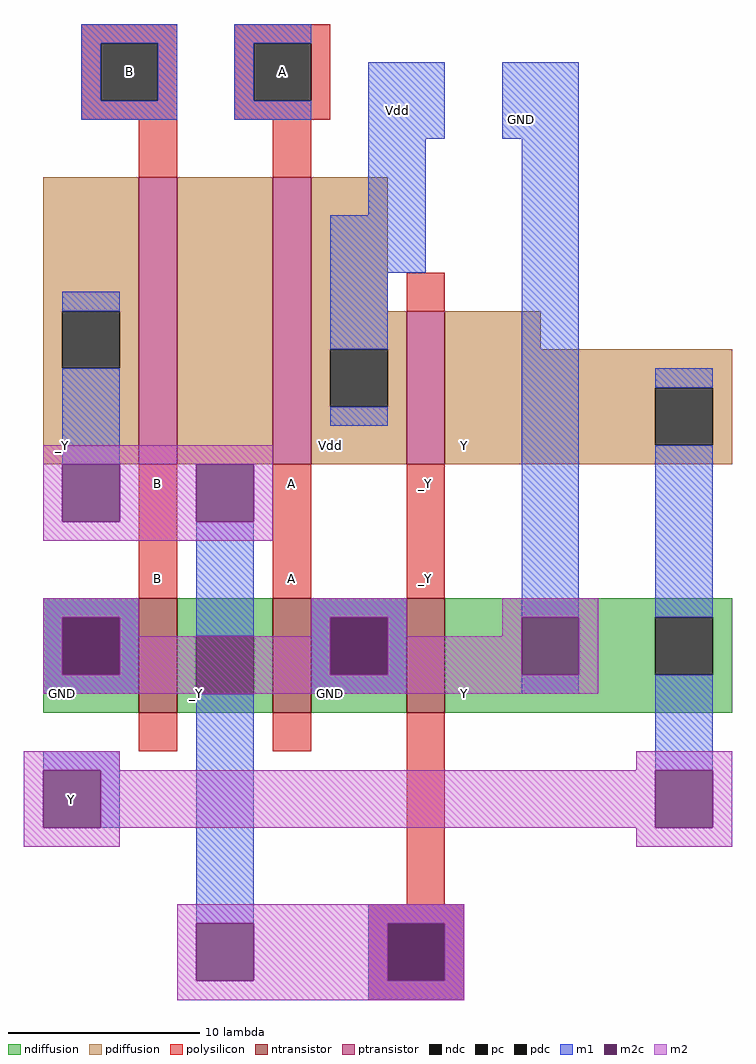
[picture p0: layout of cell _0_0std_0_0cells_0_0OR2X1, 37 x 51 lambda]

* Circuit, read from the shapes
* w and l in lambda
.subckt _0_0std_0_0cells_0_0OR2X1 GND
M1 _Y B GND VSUBS nfet w=6 l=2
M2 GND A _Y VSUBS nfet w=6 l=2
M3 Y _Y GND VSUBS nfet w=6 l=2
M4 n1 B _Y NWELL pfet w=15 l=2
M5 Vdd A n1 NWELL pfet w=15 l=2
M6 Y _Y Vdd NWELL pfet w=8 l=2
.ends

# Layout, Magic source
magic
tech sky130l
<< ndiffusion >>
rect 8 11 13 12
rect 8 8 9 11
rect 12 8 13 11
rect 8 6 13 8
rect 15 10 20 12
rect 15 7 16 10
rect 19 7 20 10
rect 15 6 20 7
rect 22 11 27 12
rect 22 8 23 11
rect 26 8 27 11
rect 22 6 27 8
rect 29 11 44 12
rect 29 8 40 11
rect 43 8 44 11
rect 29 6 44 8
<< ndc >>
rect 9 8 12 11
rect 16 7 19 10
rect 23 8 26 11
rect 40 8 43 11
<< ntransistor >>
rect 13 6 15 12
rect 20 6 22 12
rect 27 6 29 12
<< pdiffusion >>
rect 8 27 13 34
rect 8 24 9 27
rect 12 24 13 27
rect 8 19 13 24
rect 15 19 20 34
rect 22 27 26 34
rect 22 25 27 27
rect 22 22 23 25
rect 26 22 27 25
rect 22 19 27 22
rect 29 25 34 27
rect 29 23 44 25
rect 29 20 40 23
rect 43 20 44 23
rect 29 19 44 20
<< pdc >>
rect 9 24 12 27
rect 23 22 26 25
rect 40 20 43 23
<< ptransistor >>
rect 13 19 15 34
rect 20 19 22 34
rect 27 19 29 27
<< polysilicon >>
rect 10 41 15 42
rect 10 38 11 41
rect 14 38 15 41
rect 10 37 15 38
rect 18 41 23 42
rect 18 38 19 41
rect 22 38 23 41
rect 18 37 23 38
rect 13 34 15 37
rect 20 34 22 37
rect 27 27 29 29
rect 13 12 15 19
rect 20 12 22 19
rect 27 12 29 19
rect 13 4 15 6
rect 20 4 22 6
rect 27 -4 29 6
rect 25 -5 30 -4
rect 25 -8 26 -5
rect 29 -8 30 -5
rect 25 -9 30 -8
<< pc >>
rect 11 38 14 41
rect 19 38 22 41
rect 26 -8 29 -5
<< m1 >>
rect 10 41 15 42
rect 10 38 11 41
rect 14 38 15 41
rect 10 37 15 38
rect 18 41 22 42
rect 18 38 19 41
rect 18 37 22 38
rect 25 36 29 40
rect 32 36 36 40
rect 25 32 28 36
rect 23 29 28 32
rect 9 27 12 28
rect 9 19 12 24
rect 23 25 26 29
rect 23 21 26 22
rect 8 11 13 12
rect 8 8 9 11
rect 12 8 13 11
rect 8 7 13 8
rect 16 10 19 16
rect 22 11 27 12
rect 22 8 23 11
rect 26 8 27 11
rect 22 7 27 8
rect 33 11 36 36
rect 33 7 36 8
rect 40 23 43 24
rect 40 11 43 20
rect 8 3 12 4
rect 11 0 12 3
rect 16 -5 19 7
rect 40 3 43 8
rect 25 -5 30 -4
rect 25 -8 26 -5
rect 29 -8 30 -5
rect 25 -9 30 -8
<< m2c >>
rect 9 16 12 19
rect 16 16 19 19
rect 9 8 12 11
rect 23 8 26 11
rect 33 8 36 11
rect 8 0 11 3
rect 40 0 43 3
rect 16 -8 19 -5
rect 26 -8 29 -5
<< m2 >>
rect 8 19 20 20
rect 8 16 9 19
rect 12 16 16 19
rect 19 16 20 19
rect 8 15 20 16
rect 8 11 13 12
rect 8 8 9 11
rect 12 10 13 11
rect 22 11 27 12
rect 22 10 23 11
rect 12 8 23 10
rect 26 10 27 11
rect 32 11 37 12
rect 32 10 33 11
rect 26 8 33 10
rect 36 8 37 11
rect 8 7 37 8
rect 7 3 12 4
rect 39 3 44 4
rect 7 0 8 3
rect 11 0 40 3
rect 43 0 44 3
rect 7 -1 12 0
rect 39 -1 44 0
rect 15 -5 30 -4
rect 15 -8 16 -5
rect 19 -8 26 -5
rect 29 -8 30 -5
rect 15 -9 30 -8
<< labels >>
rlabel pdiffusion 30 20 30 20 3 Y
rlabel ndiffusion 30 7 30 7 3 Y
rlabel polysilicon 28 13 28 13 3 _Y
rlabel polysilicon 28 18 28 18 3 _Y
rlabel ndiffusion 23 7 23 7 3 GND
rlabel pdiffusion 23 20 23 20 3 Vdd
rlabel polysilicon 21 13 21 13 3 A
rlabel polysilicon 21 18 21 18 3 A
rlabel ndiffusion 16 7 16 7 3 _Y
rlabel polysilicon 14 13 14 13 3 B
rlabel polysilicon 14 18 14 18 3 B
rlabel ndiffusion 9 7 9 7 3 GND
rlabel pdiffusion 9 20 9 20 3 _Y
rlabel m1 33 37 33 37 3 GND
port 1 e
rlabel m1 26 37 27 38 5 Vdd
rlabel m2c 9 1 10 2 2 Y
rlabel m1 34 37 35 38 5 GND
rlabel pc 12 39 13 40 4 B
rlabel pc 20 39 21 40 5 A
<< end >>
